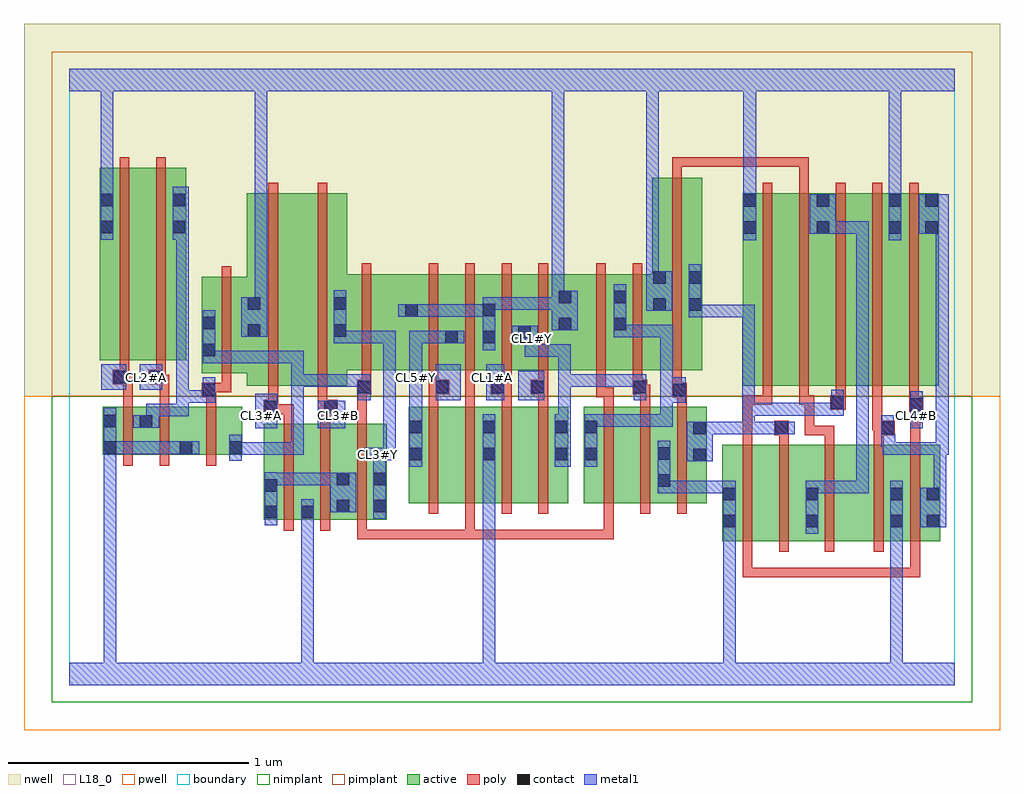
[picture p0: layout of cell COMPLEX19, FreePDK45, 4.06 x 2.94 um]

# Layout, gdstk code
import gdstk
lib = gdstk.Library(unit=1e-6, precision=1e-09)
def R(c, l, rs):  # rectangles x0, y0, x1, y1
    for r in rs: c.add(gdstk.rectangle(r[:2], r[2:], *l))
def A(c, l, x, y, w, h, nx, ny, dx, dy):  # array of equal rectangles
    R(c, l, [(x+i*dx, y+j*dy, x+i*dx+w, y+j*dy+h) for i in range(nx) for j in range(ny)])
active = (1, 0)
pwell = (2, 0)
nwell = (3, 0)
nimplant = (4, 0)
pimplant = (5, 0)
poly = (9, 0)
contact = (10, 0)
metal1 = (11, 0)
L18_0 = (18, 0)
boundary = (235, 0)

complex19 = lib.new_cell('COMPLEX19')
R(complex19, active, [(2.714,0.598,2.774,0.998), (2.714,0.598,2.894,0.998), (2.894,0.598,3.116,0.998), (3.056,0.598,3.116,0.998), (3.056,0.598,3.266,0.998), (3.266,0.598,3.468,0.998), (3.408,0.598,3.468,0.998), (3.408,0.598,3.62,0.998), (3.56,0.598,3.62,0.998), (0.808,0.686,1.02,1.086), (0.96,0.686,1.168,1.086), (0.96,0.686,1.02,0.842), (1.108,0.686,1.32,1.086), (1.108,0.686,1.168,0.98), (1.26,0.686,1.32,1.086), (0.808,0.688,0.868,1.086), (1.41,0.756,1.47,1.156), (1.41,0.756,1.59,1.156), (1.59,0.756,1.774,1.156), (1.714,0.756,1.894,1.156), (1.714,0.756,1.774,1.102), (1.894,0.756,2.074,1.156), (2.014,0.756,2.074,1.156), (2.138,0.756,2.198,1.156), (2.138,0.756,2.318,1.156), (2.318,0.756,2.502,1.156), (2.442,0.756,2.65,1.156), (2.442,0.756,2.502,0.992), (2.59,0.756,2.65,1.156), (0.14,0.956,0.2,1.156), (0.14,0.956,0.35,1.156), (0.29,0.956,0.516,1.156), (0.29,0.956,0.35,1.126), (0.456,0.956,0.516,1.156), (0.456,0.956,0.72,1.156), (0.66,0.956,0.72,1.156), (0.738,1.244,0.924,2.044), (0.924,1.244,1.156,2.044), (2.798,1.244,2.858,2.044), (2.798,1.244,2.978,2.044), (2.978,1.244,3.162,2.044), (3.102,1.244,3.162,2.044), (3.102,1.244,3.282,2.044), (3.282,1.244,3.462,2.044), (3.402,1.244,3.462,2.044), (3.402,1.244,3.614,2.044), (3.554,1.244,3.614,2.044), (0.55,1.296,0.798,1.696), (0.55,1.296,0.61,1.644), (1.096,1.308,1.452,1.708), (1.392,1.308,1.618,1.708), (1.558,1.308,1.774,1.708), (1.714,1.308,1.922,1.708), (1.862,1.308,2.09,1.708), (2.03,1.308,2.318,1.708), (2.258,1.308,2.482,1.708), (2.422,1.308,2.63,2.108), (2.57,1.308,2.63,2.044), (2.422,1.314,2.482,2.108), (0.126,1.35,0.186,2.15), (0.126,1.35,0.306,2.15), (0.306,1.35,0.486,2.15), (0.426,1.35,0.486,2.15), (1.558,1.416,1.618,1.644), (1.714,1.416,1.774,1.644), (1.862,1.438,1.922,1.644), (0.738,1.444,0.798,1.644), (1.096,1.444,1.156,1.644), (2.03,1.47,2.09,1.644), (2.258,1.47,2.318,1.644), (1.392,1.526,1.452,1.644)])
R(complex19, pwell, [(-0.188,-0.188,3.868,1.2)])
R(complex19, nwell, [(-0.188,1.2,3.868,2.748)])
R(complex19, nimplant, [(-0.072,-0.072,3.752,1.2)])
R(complex19, pimplant, [(-0.072,1.2,3.752,2.632)])
A(complex19, poly, 0.892, 0.642, 0.04, 0.488, 3, 1, 0.152, 0)
A(complex19, poly, 1.494, 0.712, 0.04, 0.488, 4, 2, 0.152, 0.552)
A(complex19, poly, 2.222, 0.712, 0.04, 0.488, 3, 1, 0.152, 0)
A(complex19, poly, 2.882, 1.164, 0.04, 0.076, 3, 1, 0.152, 0)
A(complex19, poly, 2.882, 1.2, 0.04, 0.888, 5, 1, 0.152, 0)
A(complex19, poly, 1.494, 1.228, 0.04, 0.076, 4, 1, 0.152, 0)
R(complex19, poly, [(2.798,0.448,2.838,0.488), (2.798,0.448,2.838,0.488), (2.798,0.448,2.838,0.488), (2.798,0.448,2.838,0.594), (2.798,0.448,3.028,0.488), (2.988,0.448,3.028,0.488), (2.988,0.448,3.028,0.488), (2.988,0.448,3.028,0.488), (2.988,0.448,3.272,0.488), (3.232,0.448,3.272,0.488), (3.232,0.448,3.424,0.488), (3.384,0.448,3.424,0.488), (3.384,0.448,3.424,0.488), (3.384,0.448,3.424,0.488), (3.384,0.448,3.536,0.488), (3.496,0.448,3.536,0.488), (3.496,0.448,3.536,0.488), (3.496,0.448,3.536,0.488), (3.496,0.448,3.536,0.594), (2.798,0.554,2.838,1.042), (2.95,0.554,2.99,1.042), (3.14,0.554,3.18,1.042), (3.344,0.554,3.384,1.042), (3.496,0.554,3.536,1.042), (1.196,0.606,1.236,0.646), (1.196,0.606,1.236,0.646), (1.196,0.606,1.236,0.646), (1.196,0.606,1.236,0.682), (1.196,0.606,1.58,0.646), (1.54,0.606,1.58,0.646), (1.54,0.606,1.58,0.646), (1.54,0.606,1.58,0.646), (1.54,0.606,1.686,0.646), (1.646,0.606,1.686,0.646), (1.646,0.606,1.686,0.646), (1.646,0.606,1.686,0.646), (1.646,0.606,1.686,0.752), (1.646,0.606,1.852,0.646), (1.812,0.606,1.852,0.646), (1.812,0.606,1.852,0.646), (1.812,0.606,1.852,0.646), (1.812,0.606,2.018,0.646), (1.978,0.606,2.018,0.646), (1.978,0.606,2.018,0.646), (1.978,0.606,2.018,0.646), (1.978,0.606,2.124,0.646), (2.084,0.606,2.124,0.646), (2.084,0.606,2.262,0.646), (2.222,0.606,2.262,0.646), (2.222,0.606,2.262,0.646), (2.222,0.606,2.262,0.646), (2.222,0.606,2.262,0.752), (0.224,0.912,0.264,1.2), (0.376,0.912,0.416,1.2), (0.57,0.912,0.61,1.2), (2.798,1.002,2.838,1.204), (2.95,1.002,2.99,1.078), (3.14,1.002,3.18,1.078), (3.344,1.002,3.384,1.078), (3.496,1.002,3.536,1.176), (2.93,1.038,2.99,1.098), (3.056,1.038,3.096,1.078), (3.056,1.038,3.18,1.078), (3.056,1.038,3.096,1.204), (3.14,1.038,3.18,1.078), (3.344,1.038,3.43,1.098), (3.338,1.058,3.378,1.24), (3.338,1.058,3.384,1.098), (3.344,1.058,3.384,1.098), (0.892,1.09,0.932,1.166), (1.044,1.09,1.084,1.166), (1.196,1.09,1.236,1.248), (0.808,1.126,0.868,1.186), (0.828,1.126,0.868,1.166), (0.828,1.126,0.932,1.166), (1.044,1.126,1.116,1.186), (3.49,1.136,3.55,1.196), (3.496,1.136,3.536,1.176), (3.496,1.136,3.536,1.176), (3.162,1.144,3.226,1.204), (0.828,1.146,0.868,1.24), (1.032,1.146,1.084,1.186), (1.032,1.146,1.072,1.24), (1.044,1.146,1.084,1.186), (3.49,1.156,3.53,1.24), (0.224,1.16,0.264,1.29), (0.376,1.16,0.416,1.29), (0.57,1.16,0.61,1.236), (1.494,1.16,1.534,1.248), (1.646,1.16,1.686,1.268), (1.798,1.16,1.838,1.248), (1.95,1.16,1.99,1.248), (2.222,1.16,2.262,1.236), (2.374,1.16,2.414,1.248), (2.526,1.16,2.566,1.236), (2.798,1.164,2.854,1.204), (2.814,1.164,2.854,1.204), (2.814,1.164,2.922,1.204), (3.034,1.164,3.074,1.204), (3.034,1.164,3.096,1.204), (3.056,1.164,3.096,1.204), (0.55,1.196,0.61,1.256), (2.19,1.196,2.23,1.304), (2.19,1.196,2.262,1.236), (2.222,1.196,2.262,1.236), (2.222,1.196,2.262,1.236), (2.506,1.196,2.566,1.256), (0.828,1.2,0.868,2.088), (1.032,1.2,1.072,2.088), (1.196,1.208,1.236,1.248), (1.196,1.208,1.236,1.248), (1.196,1.208,1.256,1.268), (1.494,1.208,1.58,1.268), (1.752,1.208,1.838,1.268), (1.918,1.208,1.99,1.268), (2.342,1.208,2.402,1.268), (2.362,1.208,2.402,1.248), (2.362,1.208,2.414,1.248), (0.57,1.216,0.61,1.256), (0.57,1.216,0.674,1.256), (0.634,1.216,0.674,1.292), (2.506,1.216,2.546,1.256), (2.506,1.216,2.546,1.256), (2.506,1.216,2.546,1.304), (1.216,1.228,1.256,1.304), (1.494,1.228,1.534,1.268), (1.494,1.228,1.534,1.268), (1.646,1.228,1.686,1.268), (1.646,1.228,1.686,1.268), (1.646,1.228,1.686,1.268), (1.798,1.228,1.838,1.268), (1.798,1.228,1.838,1.268), (1.95,1.228,1.99,1.268), (1.95,1.228,1.99,1.268), (2.342,1.228,2.382,1.304), (0.18,1.25,0.25,1.31), (0.21,1.25,0.25,1.29), (0.21,1.25,0.264,1.29), (0.33,1.25,0.402,1.31), (0.362,1.25,0.402,1.29), (0.362,1.25,0.416,1.29), (0.634,1.252,0.674,1.74), (1.216,1.264,1.256,1.752), (2.19,1.264,2.23,1.752), (2.342,1.264,2.382,1.752), (2.506,1.264,2.546,2.152), (0.21,1.27,0.25,1.346), (0.362,1.27,0.402,1.346), (0.21,1.306,0.25,2.194), (0.362,1.306,0.402,2.194), (3.034,2.048,3.074,2.194), (2.506,2.112,2.546,2.194), (2.506,2.154,2.546,2.194), (2.506,2.154,2.546,2.194), (2.506,2.154,2.546,2.194), (2.506,2.154,2.652,2.194), (2.612,2.154,2.652,2.194), (2.612,2.154,2.652,2.194), (2.612,2.154,2.652,2.194), (2.612,2.154,2.758,2.194), (2.718,2.154,2.758,2.194), (2.718,2.154,3.074,2.194), (3.034,2.154,3.074,2.194)])
R(complex19, contact, [(2.718,0.656,2.77,0.708), (3.06,0.656,3.112,0.708), (3.412,0.656,3.464,0.708), (3.564,0.656,3.616,0.708), (0.812,0.692,0.864,0.744), (0.964,0.692,1.016,0.744), (1.112,0.718,1.164,0.77), (1.264,0.718,1.316,0.77), (2.718,0.768,2.77,0.82), (3.06,0.768,3.112,0.82), (3.412,0.768,3.464,0.82), (3.564,0.768,3.616,0.82), (0.812,0.804,0.864,0.856), (2.446,0.824,2.498,0.876), (1.112,0.83,1.164,0.882), (1.264,0.83,1.316,0.882), (2.594,0.93,2.646,0.982), (1.414,0.934,1.466,0.986), (1.718,0.934,1.77,0.986), (2.018,0.934,2.07,0.986), (2.142,0.934,2.194,0.986), (2.446,0.936,2.498,0.988), (0.144,0.96,0.196,1.012), (0.46,0.96,0.512,1.012), (0.664,0.96,0.716,1.012), (2.594,1.042,2.646,1.094), (2.934,1.042,2.986,1.094), (3.374,1.042,3.426,1.094), (1.414,1.046,1.466,1.098), (1.718,1.046,1.77,1.098), (2.018,1.046,2.07,1.098), (2.142,1.046,2.194,1.098), (0.294,1.07,0.346,1.122), (0.144,1.072,0.196,1.124), (0.812,1.13,0.864,1.182), (1.06,1.13,1.112,1.182), (3.494,1.14,3.546,1.192), (3.166,1.148,3.218,1.2), (0.554,1.2,0.606,1.252), (2.51,1.2,2.562,1.252), (1.2,1.212,1.252,1.264), (1.524,1.212,1.576,1.264), (1.756,1.212,1.808,1.264), (1.922,1.212,1.974,1.264), (2.346,1.212,2.398,1.264), (0.184,1.254,0.236,1.306), (0.334,1.254,0.386,1.306), (0.554,1.366,0.606,1.418), (1.562,1.42,1.614,1.472), (1.718,1.42,1.77,1.472), (1.866,1.442,1.918,1.494), (0.742,1.448,0.794,1.5), (1.1,1.448,1.152,1.5), (2.034,1.474,2.086,1.526), (2.262,1.474,2.314,1.526), (0.554,1.478,0.606,1.53), (1.396,1.53,1.448,1.582), (1.718,1.532,1.77,1.584), (2.426,1.556,2.478,1.608), (2.574,1.556,2.626,1.608), (0.742,1.56,0.794,1.612), (1.1,1.56,1.152,1.612), (2.034,1.586,2.086,1.638), (2.262,1.586,2.314,1.638), (2.426,1.668,2.478,1.72), (2.574,1.668,2.626,1.72), (2.802,1.876,2.854,1.928), (3.106,1.876,3.158,1.928), (3.406,1.876,3.458,1.928), (3.558,1.876,3.61,1.928), (0.13,1.878,0.182,1.93), (0.43,1.878,0.482,1.93), (2.802,1.988,2.854,2.04), (3.106,1.988,3.158,2.04), (3.406,1.988,3.458,2.04), (3.558,1.988,3.61,2.04), (0.13,1.99,0.182,2.042), (0.43,1.99,0.482,2.042)])
R(complex19, metal1, [(0,0,3.68,0.092), (0.144,0.04,0.196,0.092), (0.144,0.04,0.196,0.092), (0.144,0.04,0.196,0.092), (0.144,0.04,0.196,0.092), (0.144,0.04,0.196,0.092), (0.144,0.04,0.196,0.092), (0.144,0.04,0.196,0.092), (0.144,0.04,0.196,0.092), (0.144,0.04,0.196,0.092), (0.144,0.04,0.196,0.092), (0.144,0.04,0.196,0.092), (0.144,0.04,0.196,0.092), (0.144,0.04,0.196,0.092), (0.144,0.04,0.196,0.092), (0.144,0.04,0.196,0.092), (0.144,0.04,0.196,0.092), (0.144,0.04,0.196,0.984), (0.964,0.04,1.016,0.716), (1.718,0.04,1.77,0.958), (2.718,0.04,2.77,0.092), (2.718,0.04,2.77,0.092), (2.718,0.04,2.77,0.092), (2.718,0.04,2.77,0.092), (2.718,0.04,2.77,0.148), (3.412,0.04,3.464,0.092), (3.412,0.04,3.464,0.092), (3.412,0.04,3.464,0.092), (3.412,0.04,3.464,0.092), (3.412,0.04,3.464,0.092), (3.412,0.04,3.464,0.092), (3.412,0.04,3.464,0.68), (2.718,0.096,2.77,0.148), (2.718,0.096,2.77,0.148), (2.718,0.096,2.77,0.148), (2.718,0.096,2.77,0.68), (2.718,0.628,2.77,0.68), (2.718,0.628,2.77,0.68), (2.718,0.628,2.77,0.68), (2.718,0.628,2.77,0.68), (2.718,0.628,2.77,0.848), (3.06,0.628,3.112,0.848), (3.412,0.628,3.464,0.68), (3.412,0.628,3.464,0.68), (3.412,0.628,3.464,0.68), (3.412,0.628,3.464,0.68), (3.412,0.628,3.464,0.68), (3.412,0.628,3.464,0.68), (3.412,0.628,3.464,0.848), (3.536,0.656,3.644,0.82), (0.812,0.664,0.864,0.884), (0.964,0.664,1.016,0.716), (0.964,0.664,1.016,0.716), (0.964,0.664,1.016,0.716), (0.964,0.664,1.016,0.716), (0.964,0.664,1.016,0.716), (0.964,0.664,1.016,0.716), (0.964,0.664,1.016,0.716), (0.964,0.664,1.016,0.716), (0.964,0.664,1.016,0.716), (0.964,0.664,1.016,0.716), (0.964,0.664,1.016,0.716), (0.964,0.664,1.016,0.716), (0.964,0.664,1.016,0.772), (1.264,0.69,1.316,0.91), (1.084,0.718,1.192,0.882), (3.592,0.768,3.644,1.008), (2.446,0.796,2.508,0.848), (2.446,0.796,2.498,1.016), (2.456,0.796,2.508,0.848), (2.456,0.796,2.618,0.848), (2.566,0.796,2.618,0.848), (2.566,0.796,2.77,0.848), (3.06,0.796,3.112,0.848), (3.06,0.796,3.112,0.848), (3.06,0.796,3.322,0.848), (3.27,0.796,3.322,0.848), (3.27,0.796,3.322,0.848), (3.27,0.796,3.322,0.848), (3.27,0.796,3.322,1.928), (0.812,0.83,0.974,0.882), (0.922,0.83,0.974,0.882), (0.922,0.83,0.974,0.882), (0.922,0.83,0.974,0.882), (0.922,0.83,1.136,0.882), (1.084,0.83,1.136,0.882), (1.084,0.83,1.136,0.882), (1.264,0.858,1.316,0.986), (1.414,0.906,1.466,1.126), (1.718,0.906,1.77,0.958), (1.718,0.906,1.77,0.958), (1.718,0.906,1.77,0.958), (1.718,0.906,1.77,0.958), (1.718,0.906,1.77,0.958), (1.718,0.906,1.77,0.958), (1.718,0.906,1.77,0.958), (1.718,0.906,1.77,0.958), (1.718,0.906,1.77,0.958), (1.718,0.906,1.77,0.958), (1.718,0.906,1.77,0.958), (1.718,0.906,1.77,0.958), (1.718,0.906,1.77,1.126), (2.018,0.906,2.084,1.126), (2.142,0.906,2.194,1.126), (2.566,0.93,2.674,1.094), (0.144,0.932,0.196,1.152), (0.664,0.932,0.716,1.04), (1.226,0.934,1.356,0.986), (1.304,0.934,1.356,0.986), (1.304,0.934,1.356,0.986), (1.304,0.934,1.356,1.472), (0.664,0.956,0.716,1.008), (0.664,0.956,0.734,1.008), (0.664,0.956,0.716,1.04), (0.682,0.956,0.734,1.008), (0.682,0.956,0.974,1.008), (0.922,0.956,0.974,1.008), (0.922,0.956,0.974,1.008), (0.922,0.956,0.974,1.008), (0.922,0.956,0.974,1.292), (3.38,0.956,3.644,1.008), (3.38,0.956,3.432,1.042), (3.592,0.956,3.644,1.008), (3.592,0.956,3.644,1.008), (3.592,0.956,3.654,1.008), (3.602,0.956,3.654,1.928), (3.602,0.956,3.654,1.008), (3.602,0.956,3.654,1.008), (0.144,0.96,0.196,1.012), (0.144,0.96,0.196,1.012), (0.144,0.96,0.372,1.012), (0.32,0.96,0.372,1.012), (0.32,0.96,0.372,1.012), (0.32,0.96,0.372,1.012), (0.32,0.96,0.484,1.012), (0.432,0.96,0.54,1.012), (3.374,0.99,3.432,1.042), (3.374,0.99,3.426,1.122), (2.622,1.042,2.674,1.094), (2.622,1.042,2.674,1.094), (2.622,1.042,2.674,1.094), (2.622,1.042,2.674,1.094), (2.622,1.042,2.848,1.094), (2.796,1.042,2.848,1.094), (2.796,1.042,2.848,1.094), (2.796,1.042,2.848,1.094), (2.796,1.042,2.958,1.094), (2.796,1.042,2.848,1.172), (2.906,1.042,3.014,1.094), (0.774,1.066,0.864,1.21), (1.032,1.066,1.146,1.182), (3.494,1.066,3.546,1.22), (0.266,1.07,0.374,1.122), (0.32,1.07,0.372,1.168), (1.414,1.074,1.466,1.278), (2.032,1.074,2.084,1.292), (2.142,1.074,2.194,1.126), (2.142,1.074,2.194,1.126), (2.142,1.074,2.34,1.126), (2.288,1.074,2.34,1.126), (2.288,1.074,2.34,1.126), (2.288,1.074,2.34,1.126), (2.288,1.074,2.508,1.126), (2.456,1.074,2.508,1.126), (2.456,1.074,2.508,1.224), (0.32,1.116,0.372,1.168), (0.32,1.116,0.372,1.168), (0.32,1.116,0.372,1.168), (0.32,1.116,0.496,1.168), (0.444,1.116,0.496,1.224), (2.796,1.12,2.848,1.172), (2.796,1.12,3.002,1.172), (2.796,1.12,2.848,1.58), (2.95,1.12,3.002,1.172), (2.95,1.12,3.002,1.172), (2.95,1.12,3.002,1.172), (2.95,1.12,3.218,1.172), (3.166,1.12,3.218,1.228), (0.444,1.172,0.496,1.224), (0.444,1.172,0.496,1.224), (0.444,1.172,0.606,1.224), (0.444,1.172,0.496,1.902), (0.554,1.172,0.606,1.28), (2.456,1.172,2.508,1.224), (2.456,1.172,2.508,1.224), (2.456,1.172,2.508,1.224), (2.456,1.172,2.562,1.224), (2.456,1.172,2.508,1.498), (2.51,1.172,2.562,1.28), (1.2,1.184,1.252,1.292), (1.524,1.184,1.626,1.334), (1.734,1.184,1.808,1.334), (1.866,1.184,1.974,1.306), (2.346,1.184,2.398,1.292), (0.134,1.226,0.236,1.334), (0.294,1.226,0.386,1.334), (1.414,1.226,1.466,1.334), (0.922,1.24,0.974,1.292), (0.922,1.24,1.084,1.292), (0.922,1.24,0.974,1.39), (1.032,1.24,1.084,1.292), (1.032,1.24,1.084,1.292), (1.032,1.24,1.084,1.292), (1.032,1.24,1.252,1.292), (2.032,1.24,2.084,1.292), (2.032,1.24,2.084,1.292), (2.032,1.24,2.204,1.292), (2.032,1.24,2.084,1.416), (2.152,1.24,2.204,1.292), (2.152,1.24,2.204,1.292), (2.152,1.24,2.204,1.292), (2.152,1.24,2.314,1.292), (2.262,1.24,2.314,1.292), (2.262,1.24,2.398,1.292), (1.414,1.282,1.466,1.334), (1.414,1.282,1.466,1.334), (1.414,1.282,1.466,1.472), (0.554,1.338,0.606,1.39), (0.554,1.338,0.606,1.39), (0.554,1.338,0.606,1.558), (0.554,1.338,0.716,1.39), (0.664,1.338,0.716,1.39), (0.664,1.338,0.716,1.39), (0.664,1.338,0.716,1.39), (0.664,1.338,0.974,1.39), (0.922,1.338,0.974,1.39), (0.922,1.338,0.974,1.39), (0.922,1.338,0.974,1.39), (1.894,1.364,1.946,1.494), (1.894,1.364,2.084,1.416), (2.032,1.364,2.084,1.416), (2.032,1.364,2.084,1.416), (1.718,1.392,1.77,1.612), (1.1,1.42,1.152,1.64), (1.1,1.42,1.31,1.472), (1.258,1.42,1.31,1.472), (1.258,1.42,1.356,1.472), (1.304,1.42,1.356,1.472), (1.414,1.42,1.466,1.472), (1.414,1.42,1.466,1.472), (1.414,1.42,1.466,1.472), (1.414,1.42,1.586,1.472), (1.534,1.42,1.642,1.472), (1.838,1.442,1.946,1.494), (1.894,1.442,1.946,1.494), (2.262,1.446,2.314,1.498), (2.262,1.446,2.314,1.498), (2.262,1.446,2.314,1.666), (2.262,1.446,2.508,1.498), (2.456,1.446,2.508,1.498), (0.714,1.448,0.822,1.612), (2.006,1.474,2.114,1.638), (2.574,1.528,2.626,1.748), (2.574,1.528,2.738,1.58), (2.686,1.528,2.738,1.58), (2.686,1.528,2.848,1.58), (2.796,1.528,2.848,1.58), (2.796,1.528,2.848,1.58), (2.796,1.528,2.848,1.58), (1.368,1.53,1.476,1.582), (1.424,1.53,1.55,1.582), (1.498,1.53,1.55,1.582), (1.498,1.53,1.66,1.582), (1.608,1.53,1.66,1.582), (1.608,1.53,1.66,1.582), (1.608,1.53,1.66,1.582), (1.608,1.53,1.77,1.582), (2.398,1.556,2.506,1.72), (0.77,1.56,0.822,2.52), (1.718,1.56,1.77,1.612), (1.718,1.56,1.77,1.612), (1.718,1.56,1.948,1.612), (1.896,1.56,1.948,1.612), (1.896,1.56,2.058,1.612), (2.006,1.56,2.058,1.612), (2.006,1.56,2.058,1.612), (2.006,1.586,2.058,1.638), (2.006,1.586,2.058,1.638), (2.006,1.586,2.058,1.638), (2.006,1.586,2.058,1.638), (2.006,1.586,2.058,1.638), (2.006,1.586,2.058,1.638), (2.006,1.586,2.058,1.638), (2.006,1.586,2.058,1.638), (2.006,1.586,2.058,2.52), (2.398,1.668,2.45,2.52), (2.802,1.848,2.854,2.068), (3.406,1.848,3.458,2.068), (0.13,1.85,0.182,2.07), (0.43,1.85,0.496,2.07), (0.444,1.85,0.496,1.902), (0.444,1.85,0.496,1.902), (3.078,1.876,3.186,2.04), (3.134,1.876,3.186,1.928), (3.134,1.876,3.186,1.928), (3.134,1.876,3.322,1.928), (3.27,1.876,3.322,1.928), (3.27,1.876,3.322,1.928), (3.27,1.876,3.322,1.928), (3.53,1.876,3.654,2.04), (2.802,2.016,2.854,2.068), (2.802,2.016,2.854,2.068), (2.802,2.016,2.854,2.52), (3.406,2.016,3.458,2.068), (3.406,2.016,3.458,2.068), (3.406,2.016,3.458,2.068), (3.406,2.016,3.458,2.068), (3.406,2.016,3.458,2.52), (0.13,2.018,0.182,2.07), (0.13,2.018,0.182,2.07), (0.13,2.018,0.182,2.07), (0.13,2.018,0.182,2.07), (0.13,2.018,0.182,2.07), (0.13,2.018,0.182,2.07), (0.13,2.018,0.182,2.52), (0,2.468,3.68,2.56), (0.13,2.468,0.182,2.52), (0.13,2.468,0.182,2.52), (0.77,2.468,0.822,2.52), (0.77,2.468,0.822,2.52), (0.77,2.468,0.822,2.52), (0.77,2.468,0.822,2.52), (0.77,2.468,0.822,2.52), (0.77,2.468,0.822,2.52), (0.77,2.468,0.822,2.52), (0.77,2.468,0.822,2.52), (2.006,2.468,2.058,2.52), (2.006,2.468,2.058,2.52), (2.006,2.468,2.058,2.52), (2.006,2.468,2.058,2.52), (2.006,2.468,2.058,2.52), (2.006,2.468,2.058,2.52), (2.006,2.468,2.058,2.52), (2.006,2.468,2.058,2.52), (2.398,2.468,2.45,2.52), (2.398,2.468,2.45,2.52), (2.398,2.468,2.45,2.52), (2.398,2.468,2.45,2.52), (2.398,2.468,2.45,2.52), (2.398,2.468,2.45,2.52), (2.398,2.468,2.45,2.52), (2.398,2.468,2.45,2.52), (2.802,2.468,2.854,2.52), (2.802,2.468,2.854,2.52), (2.802,2.468,2.854,2.52), (2.802,2.468,2.854,2.52), (2.802,2.468,2.854,2.52), (2.802,2.468,2.854,2.52), (3.406,2.468,3.458,2.52), (3.406,2.468,3.458,2.52), (3.406,2.468,3.458,2.52), (3.406,2.468,3.458,2.52)])
A(complex19, L18_0, 1.414, 1.254, 0.052, 0.052, 4, 1, 0.16, 0)
R(complex19, L18_0, [(0,0,3.68,0.092), (0.144,0.04,0.196,0.092), (0.144,0.04,0.196,0.092), (0.144,0.04,0.196,0.092), (0.144,0.04,0.196,0.092), (0.144,0.04,0.196,0.092), (0.144,0.04,0.196,0.092), (0.144,0.04,0.196,0.092), (0.144,0.04,0.196,0.092), (0.144,0.04,0.196,0.092), (0.144,0.04,0.196,0.092), (0.144,0.04,0.196,0.092), (0.144,0.04,0.196,0.092), (0.144,0.04,0.196,0.092), (0.144,0.04,0.196,0.092), (0.144,0.04,0.196,0.092), (0.144,0.04,0.196,0.092), (0.144,0.04,0.196,0.984), (0.964,0.04,1.016,0.716), (1.718,0.04,1.77,0.958), (2.718,0.04,2.77,0.092), (2.718,0.04,2.77,0.092), (2.718,0.04,2.77,0.092), (2.718,0.04,2.77,0.092), (2.718,0.04,2.77,0.148), (3.412,0.04,3.464,0.092), (3.412,0.04,3.464,0.092), (3.412,0.04,3.464,0.092), (3.412,0.04,3.464,0.092), (3.412,0.04,3.464,0.092), (3.412,0.04,3.464,0.092), (3.412,0.04,3.464,0.68), (2.718,0.096,2.77,0.148), (2.718,0.096,2.77,0.148), (2.718,0.096,2.77,0.148), (2.718,0.096,2.77,0.68), (2.718,0.628,2.77,0.68), (2.718,0.628,2.77,0.68), (2.718,0.628,2.77,0.68), (2.718,0.628,2.77,0.68), (2.718,0.628,2.77,0.848), (3.412,0.628,3.464,0.68), (3.412,0.628,3.464,0.68), (3.412,0.628,3.464,0.68), (3.412,0.628,3.464,0.68), (3.412,0.628,3.464,0.68), (3.412,0.628,3.464,0.68), (3.412,0.628,3.464,0.848), (0.964,0.664,1.016,0.716), (0.964,0.664,1.016,0.716), (0.964,0.664,1.016,0.716), (0.964,0.664,1.016,0.716), (0.964,0.664,1.016,0.716), (0.964,0.664,1.016,0.716), (0.964,0.664,1.016,0.716), (0.964,0.664,1.016,0.716), (0.964,0.664,1.016,0.716), (0.964,0.664,1.016,0.716), (0.964,0.664,1.016,0.716), (0.964,0.664,1.016,0.716), (0.964,0.664,1.016,0.772), (1.264,0.69,1.316,0.91), (2.446,0.796,2.498,1.016), (2.446,0.796,2.508,0.848), (2.456,0.796,2.508,0.848), (2.456,0.796,2.618,0.848), (2.566,0.796,2.618,0.848), (2.566,0.796,2.77,0.848), (1.264,0.858,1.316,0.986), (1.414,0.906,1.466,1.126), (1.718,0.906,1.77,0.958), (1.718,0.906,1.77,0.958), (1.718,0.906,1.77,0.958), (1.718,0.906,1.77,0.958), (1.718,0.906,1.77,0.958), (1.718,0.906,1.77,0.958), (1.718,0.906,1.77,0.958), (1.718,0.906,1.77,0.958), (1.718,0.906,1.77,0.958), (1.718,0.906,1.77,0.958), (1.718,0.906,1.77,0.958), (1.718,0.906,1.77,0.958), (1.718,0.906,1.77,1.126), (2.018,0.906,2.084,1.126), (0.144,0.932,0.196,1.152), (1.226,0.934,1.356,0.986), (1.254,0.934,1.306,0.986), (1.304,0.934,1.356,0.986), (1.304,0.934,1.356,0.986), (1.304,0.934,1.356,1.472), (0.144,0.96,0.196,1.012), (0.144,0.96,0.196,1.012), (0.144,0.96,0.372,1.012), (0.32,0.96,0.372,1.012), (0.32,0.96,0.372,1.012), (0.32,0.96,0.372,1.012), (0.32,0.96,0.484,1.012), (0.432,0.96,0.54,1.012), (0.774,1.066,0.864,1.21), (1.032,1.066,1.146,1.182), (3.494,1.066,3.546,1.22), (1.414,1.074,1.466,1.278), (2.032,1.074,2.084,1.292), (0.774,1.094,0.826,1.146), (1.094,1.094,1.146,1.146), (3.494,1.094,3.546,1.146), (1.524,1.184,1.626,1.334), (1.734,1.184,1.808,1.334), (1.866,1.184,1.974,1.306), (2.346,1.184,2.398,1.292), (0.134,1.226,0.236,1.334), (0.294,1.226,0.386,1.334), (1.414,1.226,1.466,1.334), (2.032,1.24,2.084,1.292), (2.032,1.24,2.084,1.292), (2.032,1.24,2.204,1.292), (2.032,1.24,2.084,1.416), (2.152,1.24,2.204,1.292), (2.152,1.24,2.204,1.292), (2.152,1.24,2.204,1.292), (2.152,1.24,2.314,1.292), (2.262,1.24,2.314,1.292), (2.262,1.24,2.398,1.292), (0.134,1.254,0.186,1.306), (0.294,1.254,0.346,1.306), (1.414,1.282,1.466,1.334), (1.414,1.282,1.466,1.334), (1.414,1.282,1.466,1.472), (1.894,1.364,1.946,1.494), (1.894,1.364,2.084,1.416), (2.032,1.364,2.084,1.416), (2.032,1.364,2.084,1.416), (1.718,1.392,1.77,1.612), (1.894,1.414,1.946,1.466), (1.1,1.42,1.152,1.64), (1.1,1.42,1.31,1.472), (1.258,1.42,1.31,1.472), (1.258,1.42,1.356,1.472), (1.304,1.42,1.356,1.472), (1.414,1.42,1.466,1.472), (1.414,1.42,1.466,1.472), (1.414,1.42,1.466,1.472), (1.414,1.42,1.586,1.472), (1.534,1.42,1.642,1.472), (1.838,1.442,1.946,1.494), (1.894,1.442,1.946,1.494), (0.714,1.448,0.822,1.612), (2.006,1.474,2.114,1.638), (1.368,1.53,1.476,1.582), (1.424,1.53,1.55,1.582), (1.498,1.53,1.55,1.582), (1.498,1.53,1.66,1.582), (1.608,1.53,1.66,1.582), (1.608,1.53,1.66,1.582), (1.608,1.53,1.66,1.582), (1.608,1.53,1.77,1.582), (2.398,1.556,2.506,1.72), (0.77,1.56,0.822,2.52), (1.718,1.56,1.77,1.612), (1.718,1.56,1.77,1.612), (1.718,1.56,1.948,1.612), (1.896,1.56,1.948,1.612), (1.896,1.56,2.058,1.612), (2.006,1.56,2.058,1.612), (2.006,1.56,2.058,1.612), (2.006,1.586,2.058,1.638), (2.006,1.586,2.058,1.638), (2.006,1.586,2.058,1.638), (2.006,1.586,2.058,1.638), (2.006,1.586,2.058,1.638), (2.006,1.586,2.058,1.638), (2.006,1.586,2.058,1.638), (2.006,1.586,2.058,1.638), (2.006,1.586,2.058,2.52), (2.398,1.668,2.45,2.52), (2.802,1.848,2.854,2.068), (3.406,1.848,3.458,2.068), (0.13,1.85,0.182,2.07), (2.802,2.016,2.854,2.068), (2.802,2.016,2.854,2.068), (2.802,2.016,2.854,2.52), (3.406,2.016,3.458,2.068), (3.406,2.016,3.458,2.068), (3.406,2.016,3.458,2.068), (3.406,2.016,3.458,2.068), (3.406,2.016,3.458,2.52), (0.13,2.018,0.182,2.07), (0.13,2.018,0.182,2.07), (0.13,2.018,0.182,2.07), (0.13,2.018,0.182,2.07), (0.13,2.018,0.182,2.07), (0.13,2.018,0.182,2.07), (0.13,2.018,0.182,2.52), (0,2.468,3.68,2.56), (0.13,2.468,0.182,2.52), (0.13,2.468,0.182,2.52), (0.77,2.468,0.822,2.52), (0.77,2.468,0.822,2.52), (0.77,2.468,0.822,2.52), (0.77,2.468,0.822,2.52), (0.77,2.468,0.822,2.52), (0.77,2.468,0.822,2.52), (0.77,2.468,0.822,2.52), (0.77,2.468,0.822,2.52), (2.006,2.468,2.058,2.52), (2.006,2.468,2.058,2.52), (2.006,2.468,2.058,2.52), (2.006,2.468,2.058,2.52), (2.006,2.468,2.058,2.52), (2.006,2.468,2.058,2.52), (2.006,2.468,2.058,2.52), (2.006,2.468,2.058,2.52), (2.398,2.468,2.45,2.52), (2.398,2.468,2.45,2.52), (2.398,2.468,2.45,2.52), (2.398,2.468,2.45,2.52), (2.398,2.468,2.45,2.52), (2.398,2.468,2.45,2.52), (2.398,2.468,2.45,2.52), (2.398,2.468,2.45,2.52), (2.802,2.468,2.854,2.52), (2.802,2.468,2.854,2.52), (2.802,2.468,2.854,2.52), (2.802,2.468,2.854,2.52), (2.802,2.468,2.854,2.52), (2.802,2.468,2.854,2.52), (3.406,2.468,3.458,2.52), (3.406,2.468,3.458,2.52), (3.406,2.468,3.458,2.52), (3.406,2.468,3.458,2.52)])
R(complex19, boundary, [(0,0,3.68,2.56)])
complex19.add(gdstk.Label('CL1#A', (1.76,1.28), layer=11, texttype=0))
complex19.add(gdstk.Label('CL1#B', (1.92,1.28), layer=11, texttype=0))
complex19.add(gdstk.Label('CL1#Y', (1.92,1.44), layer=11, texttype=0))
complex19.add(gdstk.Label('CL2#A', (0.32,1.28), layer=11, texttype=0))
complex19.add(gdstk.Label('CL2#B', (0.16,1.28), layer=11, texttype=0))
complex19.add(gdstk.Label('CL3#A', (0.8,1.12), layer=11, texttype=0))
complex19.add(gdstk.Label('CL3#B', (1.12,1.12), layer=11, texttype=0))
complex19.add(gdstk.Label('CL3#Y', (1.28,0.96), layer=11, texttype=0))
complex19.add(gdstk.Label('CL4#B', (3.52,1.12), layer=11, texttype=0))
complex19.add(gdstk.Label('CL5#B', (1.6,1.28), layer=11, texttype=0))
complex19.add(gdstk.Label('CL5#Y', (1.44,1.28), layer=11, texttype=0))

lib.write_gds('COMPLEX19.gds')
